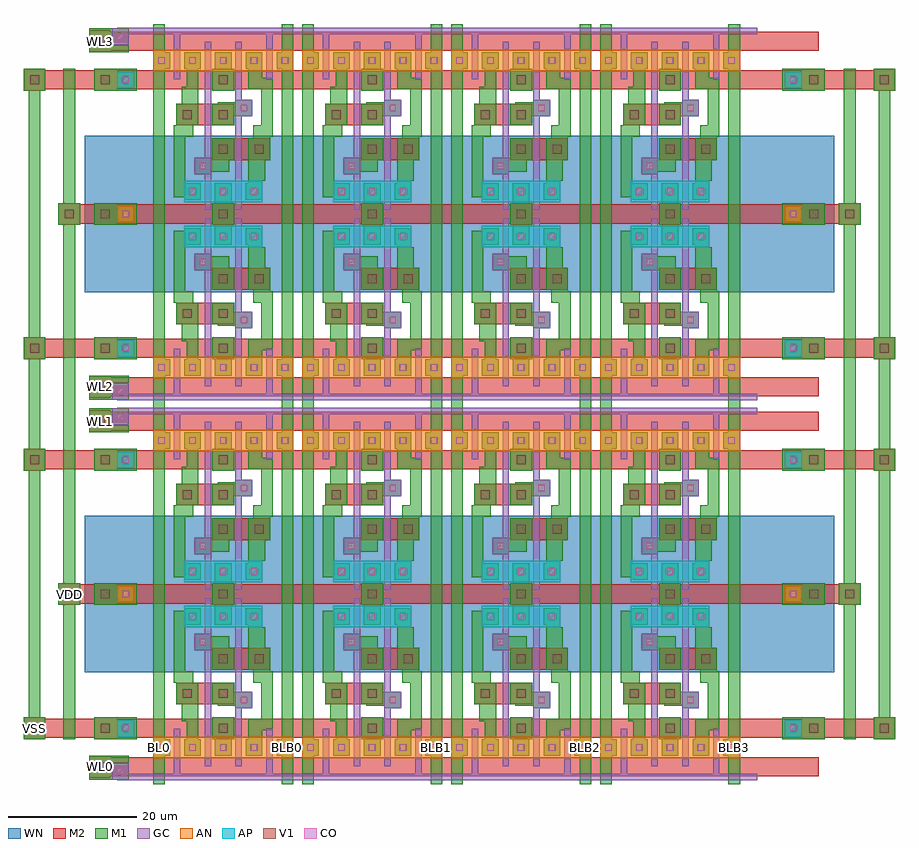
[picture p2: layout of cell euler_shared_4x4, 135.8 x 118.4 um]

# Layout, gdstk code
import gdstk
lib = gdstk.Library(unit=1e-6, precision=1e-07)
def R(c, l, rs):  # rectangles x0, y0, x1, y1
    for r in rs: c.add(gdstk.rectangle(r[:2], r[2:], *l))
def A(c, l, x, y, w, h, nx, ny, dx, dy):  # array of equal rectangles
    R(c, l, [(x+i*dx, y+j*dy, x+i*dx+w, y+j*dy+h) for i in range(nx) for j in range(ny)])
def P(c, l, *ps):  # polygons
    for p in ps: c.add(gdstk.Polygon(p, *l))
AP = (3, 1)
AN = (3, 2)
GC = (8, 1)
CO = (11, 0)
M1 = (13, 0)
V1 = (19, 0)
M2 = (20, 0)
WN = (140, 0)

euler = lib.new_cell('euler')
R(euler, AP, [(3.5,18.7,15.7,22.1)])
R(euler, AN, [(-1.3,-1.7,20.5,1.7)])
R(euler, GC, [(0,-5.1,23.2,-4.1), (1.9,-5.1,2.9,2.9), (16.3,-5.1,17.3,2.9), (6.7,-2.9,7.7,23.3), (11.5,-2.9,12.5,23.3), (11.5,6.1,14.1,8.7), (11.5,6.9,13.3,7.9), (5.1,15.1,7.7,17.7), (5.9,15.9,7.7,16.9)])
A(euler, CO, -0.5, -0.5, 1, 1, 5, 1, 4.8, 0)
A(euler, CO, 4.3, 19.9, 1, 1, 3, 1, 4.8, 0)
R(euler, CO, [(12.3,6.9,13.3,7.9), (5.9,15.9,6.9,16.9)])
P(euler, M1, [(8.3,-1.3),(8.3,1.3),(7.9,1.3),(7.9,4.7),(11.3,4.7),(11.3,1.3),(10.9,1.3),(10.9,-1.3)],
  [(11.5,6.1),(11.5,6.5),(8.7,6.5),(8.7,6.7),(7.9,6.7),(7.9,10.1),(11.3,10.1),(11.3,8.7),(14.1,8.7),(14.1,6.1)],
  [(7.9,12.1),(7.9,15.1),(5.1,15.1),(5.1,17.7),(7.7,17.7),(7.7,17.3),(10.5,17.3),(10.5,15.5),(11.3,15.5),(11.3,12.1)],
  [(3.5,-1.3),(3.5,1.3),(3.9,1.3),(3.9,4.1),(3.1,4.1),(3.1,6.7),(2.3,6.7),(2.3,10.1),(1.9,10.1),(1.9,21.3),(3.5,21.3),(3.5,21.7),(6.1,21.7),(6.1,19.1),(3.7,19.1),(3.7,11.9),(4.9,11.9),(4.9,10.1),(5.7,10.1),(5.7,1.3),(6.1,1.3),(6.1,-1.3)],
  [(13.1,-1.3),(13.1,1.3),(13.5,1.3),(13.5,4.5),(15.5,4.5),(15.5,10.1),(14.3,10.1),(14.3,12.1),(13.5,12.1),(13.5,19.1),(13.1,19.1),(13.1,21.7),(15.7,21.7),(15.7,18.7),(16.1,18.7),(16.1,15.5),(16.9,15.5),(16.9,11.9),(17.3,11.9),(17.3,2.7),(15.7,2.7),(15.7,-1.3)],
  [(-1.3,-5.7),(-1.3,23.9),(0.5,23.9),(0.5,1.3),(1.3,1.3),(1.3,-1.3),(0.5,-1.3),(0.5,-5.7)],
  [(18.7,-5.7),(18.7,-1.3),(17.9,-1.3),(17.9,1.3),(18.7,1.3),(18.7,23.9),(20.5,23.9),(20.5,-5.7)],
  [(8.3,19.1),(8.3,22.2),(7.9,22.2),(7.9,25.6),(11.3,25.6),(11.3,22.2),(10.9,22.2),(10.9,19.1)])
A(euler, V1, 8.9, 2.3, 1.4, 1.4, 1, 3, 0, 5.4)
R(euler, V1, [(3.3,7.7,4.7,9.1), (14.5,13.1,15.9,14.5), (8.9,23.2,10.3,24.6)])
A(euler, M2, 7.9, 1.3, 3.4, 3.4, 1, 3, 0, 5.4)
R(euler, M2, [(0,-4.5,23.2,-1.5), (0,1.5,23.2,4.5), (2.3,6.7,5.7,10.1), (2.3,6.7,11.3,10.1), (7.9,12.1,16.9,15.5), (13.5,12.1,16.9,15.5), (7.9,22.2,11.3,25.6), (0,22.4,23.2,25.4)])
R(euler, WN, [(-3.5,11.7,26.7,29.1)])

euler_shared_4x4 = lib.new_cell('euler_shared_4x4')
R(euler_shared_4x4, AP, [(-6.9,7.4,-4.3,10), (97.1,7.4,99.7,10), (-6.9,49.2,-4.3,51.8), (97.1,49.2,99.7,51.8), (-6.9,66.6,-4.3,69.2), (97.1,66.6,99.7,69.2), (-6.9,108.4,-4.3,111), (97.1,108.4,99.7,111)])
R(euler_shared_4x4, AN, [(-6.9,28.3,-4.3,30.9), (97.1,28.3,99.7,30.9), (-6.9,87.5,-4.3,90.1), (97.1,87.5,99.7,90.1)])
R(euler_shared_4x4, GC, [(-6.9,0.6,-5.9,2.5), (-6.4,0.6,0,1.6), (-7.7,0.7,-5.1,3.3), (-7.7,55.9,-5.1,58.5), (-6.9,56.7,-5.9,58.6), (-6.4,57.6,0,58.6), (-6.9,59.8,-5.9,61.7), (-6.4,59.8,0,60.8), (-7.7,59.9,-5.1,62.5), (-7.7,115.1,-5.1,117.7), (-6.9,115.9,-5.9,117.8), (-6.4,116.8,0,117.8)])
A(euler_shared_4x4, CO, -6.1, 8.2, 1, 1, 1, 3, 0, 20.9)
A(euler_shared_4x4, CO, 97.9, 8.2, 1, 1, 1, 3, 0, 20.9)
A(euler_shared_4x4, CO, -6.1, 67.4, 1, 1, 1, 3, 0, 20.9)
A(euler_shared_4x4, CO, 97.9, 67.4, 1, 1, 1, 3, 0, 20.9)
R(euler_shared_4x4, CO, [(-6.9,1.5,-5.9,2.5), (-6.9,56.7,-5.9,57.7), (-6.9,60.7,-5.9,61.7), (-6.9,115.9,-5.9,116.9)])
A(euler_shared_4x4, M1, -10.5, 7, 3.4, 3.4, 1, 3, 0, 20.9)
A(euler_shared_4x4, M1, -10.5, 7, 6.6, 3.4, 1, 3, 0, 20.9)
A(euler_shared_4x4, M1, 96.7, 7, 6.6, 3.4, 1, 3, 0, 20.9)
A(euler_shared_4x4, M1, 99.9, 7, 3.4, 3.4, 1, 3, 0, 20.9)
A(euler_shared_4x4, M1, -6.9, 7.4, 2.6, 2.6, 1, 3, 0, 20.9)
A(euler_shared_4x4, M1, 97.1, 7.4, 2.6, 2.6, 1, 3, 0, 20.9)
A(euler_shared_4x4, M1, -10.5, 66.2, 3.4, 3.4, 1, 3, 0, 20.9)
A(euler_shared_4x4, M1, -10.5, 66.2, 6.6, 3.4, 1, 3, 0, 20.9)
A(euler_shared_4x4, M1, 96.7, 66.2, 6.6, 3.4, 1, 3, 0, 20.9)
A(euler_shared_4x4, M1, 99.9, 66.2, 3.4, 3.4, 1, 3, 0, 20.9)
A(euler_shared_4x4, M1, -6.9, 66.6, 2.6, 2.6, 1, 3, 0, 20.9)
A(euler_shared_4x4, M1, 97.1, 66.6, 2.6, 2.6, 1, 3, 0, 20.9)
R(euler_shared_4x4, M1, [(-11.3,0.7,-5.1,4.4), (-7.7,0.7,-5.1,3.3), (-11.3,1,-7.9,4.4), (-21.5,7,-18.1,10.4), (-20.7,7,-18.9,111.4), (-15.3,7,-13.5,111.4), (106.3,7,108.1,111.4), (110.9,7,114.3,10.4), (111.7,7,113.5,111.4), (-16.1,27.9,-12.7,31.3), (105.5,27.9,108.9,31.3), (-21.5,48.8,-18.1,52.2), (110.9,48.8,114.3,52.2), (-11.3,54.8,-7.9,58.2), (-11.3,54.8,-5.1,58.5), (-7.7,55.9,-5.1,58.5), (-11.3,59.9,-5.1,63.6), (-7.7,59.9,-5.1,62.5), (-11.3,60.2,-7.9,63.6), (-21.5,66.2,-18.1,69.6), (110.9,66.2,114.3,69.6), (-16.1,87.1,-12.7,90.5), (105.5,87.1,108.9,90.5), (-21.5,108,-18.1,111.4), (110.9,108,114.3,111.4), (-11.3,114,-7.9,117.4), (-11.3,114,-5.1,117.7), (-7.7,115.1,-5.1,117.7)])
A(euler_shared_4x4, V1, -9.5, 8, 1.4, 1.4, 1, 3, 0, 20.9)
A(euler_shared_4x4, V1, 100.9, 8, 1.4, 1.4, 1, 3, 0, 20.9)
A(euler_shared_4x4, V1, -9.5, 67.2, 1.4, 1.4, 1, 3, 0, 20.9)
A(euler_shared_4x4, V1, 100.9, 67.2, 1.4, 1.4, 1, 3, 0, 20.9)
R(euler_shared_4x4, V1, [(-10.3,2,-8.9,3.4), (-20.5,8,-19.1,9.4), (111.9,8,113.3,9.4), (-15.1,28.9,-13.7,30.3), (106.5,28.9,107.9,30.3), (-20.5,49.8,-19.1,51.2), (111.9,49.8,113.3,51.2), (-10.3,55.8,-8.9,57.2), (-10.3,61.2,-8.9,62.6), (-20.5,67.2,-19.1,68.6), (111.9,67.2,113.3,68.6), (-15.1,88.1,-13.7,89.5), (106.5,88.1,107.9,89.5), (-20.5,109,-19.1,110.4), (111.9,109,113.3,110.4), (-10.3,115,-8.9,116.4)])
A(euler_shared_4x4, M2, -10.5, 7, 3.4, 3.4, 1, 3, 0, 20.9)
A(euler_shared_4x4, M2, 99.9, 7, 3.4, 3.4, 1, 3, 0, 20.9)
A(euler_shared_4x4, M2, -10.5, 66.2, 3.4, 3.4, 1, 3, 0, 20.9)
A(euler_shared_4x4, M2, 99.9, 66.2, 3.4, 3.4, 1, 3, 0, 20.9)
R(euler_shared_4x4, M2, [(-11.3,1,-7.9,4.4), (-9.6,1.2,102.4,4.2), (-21.5,7,-18.1,10.4), (110.9,7,114.3,10.4), (-21.5,7.2,94.5,10.2), (-1.7,7.2,114.3,10.2), (-16.1,27.9,-12.7,31.3), (105.5,27.9,108.9,31.3), (-16.1,28.1,94.5,31.1), (-1.7,28.1,108.9,31.1), (-21.5,48.8,-18.1,52.2), (110.9,48.8,114.3,52.2), (-21.5,49,94.5,52), (-1.7,49,114.3,52), (-11.3,54.8,-7.9,58.2), (-9.6,55,102.4,58), (-11.3,60.2,-7.9,63.6), (-9.6,60.4,102.4,63.4), (-21.5,66.2,-18.1,69.6), (110.9,66.2,114.3,69.6), (-21.5,66.4,94.5,69.4), (-1.7,66.4,114.3,69.4), (-16.1,87.1,-12.7,90.5), (105.5,87.1,108.9,90.5), (-16.1,87.3,94.5,90.3), (-1.7,87.3,108.9,90.3), (-21.5,108,-18.1,111.4), (110.9,108,114.3,111.4), (-21.5,108.2,94.5,111.2), (-1.7,108.2,114.3,111.2), (-11.3,114,-7.9,117.4), (-9.6,114.2,102.4,117.2)])
R(euler_shared_4x4, WN, [(-12,17.4,104.8,41.8), (0,17.4,104.8,41.8), (-12,76.6,104.8,101), (0,76.6,104.8,101)])
euler_shared_4x4.add(gdstk.Reference(euler, (0,5.7)))
euler_shared_4x4.add(gdstk.Reference(euler, (23.2,5.7)))
euler_shared_4x4.add(gdstk.Reference(euler, (46.4,5.7)))
euler_shared_4x4.add(gdstk.Reference(euler, (69.6,5.7)))
euler_shared_4x4.add(gdstk.Reference(euler, (0,53.5), x_reflection=True))
euler_shared_4x4.add(gdstk.Reference(euler, (23.2,53.5), x_reflection=True))
euler_shared_4x4.add(gdstk.Reference(euler, (46.4,53.5), x_reflection=True))
euler_shared_4x4.add(gdstk.Reference(euler, (69.6,53.5), x_reflection=True))
euler_shared_4x4.add(gdstk.Reference(euler, (0,64.9)))
euler_shared_4x4.add(gdstk.Reference(euler, (23.2,64.9)))
euler_shared_4x4.add(gdstk.Reference(euler, (46.4,64.9)))
euler_shared_4x4.add(gdstk.Reference(euler, (69.6,64.9)))
euler_shared_4x4.add(gdstk.Reference(euler, (0,112.7), x_reflection=True))
euler_shared_4x4.add(gdstk.Reference(euler, (23.2,112.7), x_reflection=True))
euler_shared_4x4.add(gdstk.Reference(euler, (46.4,112.7), x_reflection=True))
euler_shared_4x4.add(gdstk.Reference(euler, (69.6,112.7), x_reflection=True))
euler_shared_4x4.add(gdstk.Label('WL0', (-9.6,2.7), layer=49, texttype=0))
euler_shared_4x4.add(gdstk.Label('WL1', (-9.6,56.5), layer=49, texttype=0))
euler_shared_4x4.add(gdstk.Label('WL2', (-9.6,61.9), layer=49, texttype=0))
euler_shared_4x4.add(gdstk.Label('WL3', (-9.6,115.7), layer=49, texttype=0))
euler_shared_4x4.add(gdstk.Label('VDD', (-14.4,29.6), layer=48, texttype=0))
euler_shared_4x4.add(gdstk.Label('VSS', (-19.8,8.7), layer=48, texttype=0))
euler_shared_4x4.add(gdstk.Label('BL0', (-0.4,5.7), layer=48, texttype=0))
euler_shared_4x4.add(gdstk.Label('BLB0', (19.6,5.7), layer=48, texttype=0))
euler_shared_4x4.add(gdstk.Label('BL1', (22.8,5.7), layer=48, texttype=0))
euler_shared_4x4.add(gdstk.Label('BLB1', (42.8,5.7), layer=48, texttype=0))
euler_shared_4x4.add(gdstk.Label('BL2', (46,5.7), layer=48, texttype=0))
euler_shared_4x4.add(gdstk.Label('BLB2', (66,5.7), layer=48, texttype=0))
euler_shared_4x4.add(gdstk.Label('BL3', (69.2,5.7), layer=48, texttype=0))
euler_shared_4x4.add(gdstk.Label('BLB3', (89.2,5.7), layer=48, texttype=0))

lib.write_gds('euler_shared_4x4.gds')
